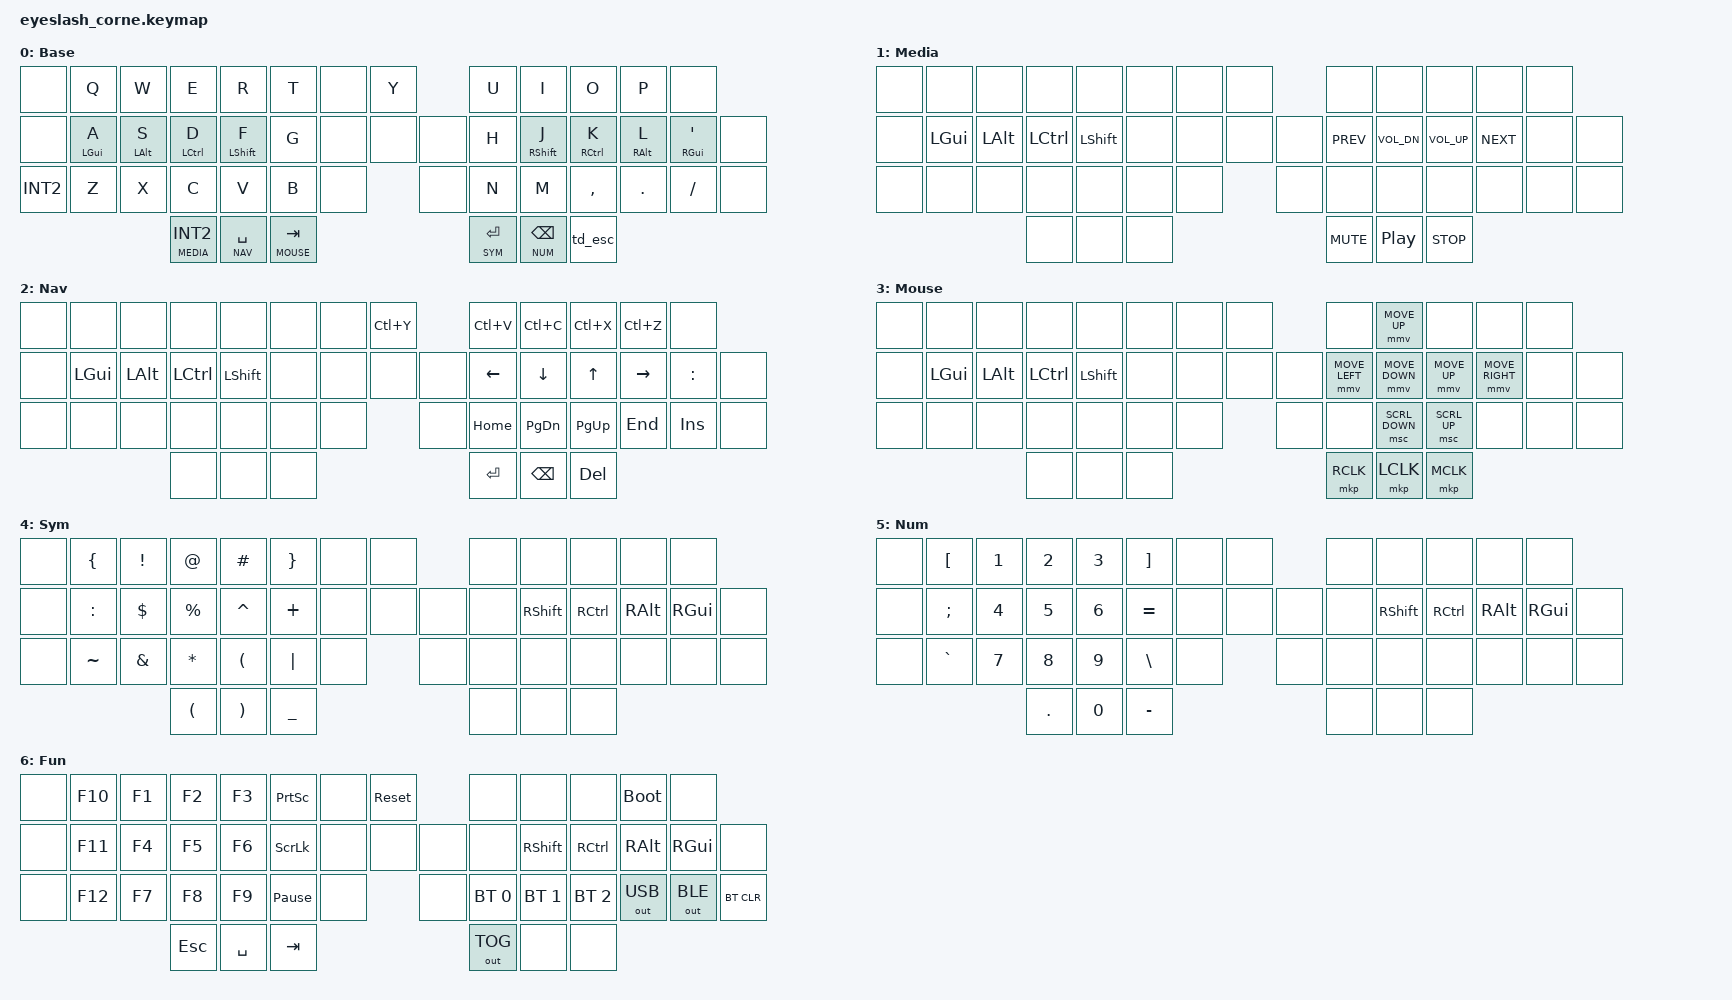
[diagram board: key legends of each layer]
/*
 * Eyelash Corne (3x6) - Miryoku-based keymap
 * Controller: nice!nano v2
 *
 * Matrix layout (48 keys total):
 * Row 0 (13): &none Q W E R T [5way_up] Y U I O P &none
 * Row 1 (15): &none A S D F G [5way_L] [5way_press] [5way_R] H J K L ; &none
 * Row 2 (14): &none Z X C V B [extra_L] [5way_dn] N M , . / &none
 * Row 3  (6): [thumb_L1] [thumb_L2] [thumb_L3] [thumb_R1] [thumb_R2] [thumb_R3]
 *
 * Key positions (0-indexed):
 * Row 0:  0  1  2  3  4  5  6  7  8  9 10 11 12
 * Row 1: 13 14 15 16 17 18 19 20 21 22 23 24 25 26 27
 * Row 2: 28 29 30 31 32 33 34 35 36 37 38 39 40 41
 * Row 3: 42 43 44 45 46 47
 */

#include <behaviors.dtsi>
#include <dt-bindings/zmk/keys.h>
#include <dt-bindings/zmk/bt.h>
#include <dt-bindings/zmk/outputs.h>
#include <dt-bindings/zmk/pointing.h>

// Layer definitions (order matches thumb-key left-to-right layout for Operator display)
#define BASE  0
#define MEDIA 1
#define NAV   2
#define MOUSE 3
#define SYM   4
#define NUM   5
#define FUN   6

// lt にキーリピートを有効化（tap→holdで発動）
&lt {
    quick-tap-ms = <175>;
};

/ {

    behaviors {

        // Left Home Row Mod
        hml: hml {
            compatible = "zmk,behavior-hold-tap";
            #binding-cells = <2>;
            flavor = "balanced";
            tapping-term-ms = <200>;
            quick-tap-ms = <175>;
            require-prior-idle-ms = <150>;
            bindings = <&kp>, <&kp>;
            hold-trigger-key-positions = <
                // Row 0 right hand
                6  7  8  9  10 11 12
                // Row 1 right hand (including 5way positions)
                19 20 21 22 23 24 25 26 27
                // Row 2 right hand
                35 36 37 38 39 40 41
                // Right thumbs
                45 46 47
            >;
            hold-trigger-on-release;
        };

        // Nested hold-tap used by td_esc below: hold = caps_word, single tap = no-op
        // (#binding-cells must be <2> per ZMK's hold-tap schema; caps_word/none ignore the unused params)
        hold_caps: hold_caps {
            compatible = "zmk,behavior-hold-tap";
            #binding-cells = <2>;
            flavor = "hold-preferred";
            tapping-term-ms = <200>;
            bindings = <&caps_word>, <&none>;
        };

        // ESC tap-dance: double-tap = ESC, hold = caps_word (via hold_caps), single tap = no-op
        td_esc: td_esc {
            compatible = "zmk,behavior-tap-dance";
            #binding-cells = <0>;
            tapping-term-ms = <200>;
            bindings = <&hold_caps 0 0>, <&kp ESC>;
        };

        // Right Home Row Mod
        hmr: hmr {
            compatible = "zmk,behavior-hold-tap";
            #binding-cells = <2>;
            flavor = "balanced";
            tapping-term-ms = <200>;
            quick-tap-ms = <175>;
            require-prior-idle-ms = <150>;
            bindings = <&kp>, <&kp>;
            hold-trigger-key-positions = <
                // Row 0 left hand
                0  1  2  3  4  5
                // Row 1 left hand
                13 14 15 16 17 18
                // Row 2 left hand
                28 29 30 31 32 33
                // Left thumbs
                42 43 44
            >;
            hold-trigger-on-release;
        };

    };

    combos {
        compatible = "zmk,combos";

        // G(pos 18) + H(pos 22) → Fun layer
        combo_fun {
            timeout-ms = <100>;
            key-positions = <18 22>;
            bindings = <&mo FUN>;
        };

        // Q(pos 1) + P(pos 11) → Region screenshot (PrintScreen)
        combo_screenshot {
            timeout-ms = <50>;
            key-positions = <1 11>;
            bindings = <&kp PSCRN>;
        };

        // J(pos 23) + K(pos 24) → Escape (Vim home row escape)
        combo_vim_esc {
            timeout-ms = <50>;
            key-positions = <23 24>;
            bindings = <&kp ESC>;
        };
    };

    keymap {
        compatible = "zmk,keymap";

        // ─────────────────────────────────────────────────────────────
        // BASE (48 keys)
        // ┌──────┬──────┬──────┬──────┬──────┬──────┬──────╥──────┬──────┬──────┬──────┬──────┬──────┐
        // │      │  Q   │  W   │  E   │  R   │  T   │      ║  Y   │  U   │  I   │  O   │  P   │      │
        // ├──────┼──────┼──────┼──────┼──────┼──────┼──────┼──────┼──────╫──────┼──────┼──────┼──────┼──────┼──────┤
        // │      │GUI/A │ALT/S │CTL/D │SFT/F │  G   │      │      │      ║  H   │SFT/J │CTL/K │ALT/L │GUI/' │      │
        // ├──────┼──────┼──────┼──────┼──────┼──────┼──────┼──────╫──────┼──────┼──────┼──────┼──────┼──────┤
        // │      │  Z   │  X   │  C   │  V   │  B   │      │      ║  N   │  M   │  ,   │  .   │  /   │      │
        // └──────┴──────┴──────┼──────┼──────┼──────┼──────┴──────╨──────┴──────┼──────┼──────┼──────┴──────┘
        //                      │MED/I2│NAV/Sp│MOU/Tb║              SYM/En│NUM/Bs │ Esc  │
        //                      └──────┴──────┴──────╨──────────────┴──────┴───────┴──────┘
        base_layer {
            display-name = "Base";
            bindings = <
                &none  &kp Q          &kp W          &kp E           &kp R           &kp T    &none     &kp Y        &kp U           &kp I           &kp O          &kp P            &none
                &none  &hml LGUI A    &hml LALT S    &hml LCTRL D    &hml LSHFT F    &kp G    &none  &none  &none  &kp H        &hmr RSHFT J    &hmr RCTRL K    &hmr RALT L    &hmr RGUI SQT   &none
                &kp INT2  &kp Z          &kp X          &kp C           &kp V           &kp B    &none  &none     &kp N        &kp M           &kp COMMA       &kp DOT        &kp SLASH        &none
                                                     &lt MEDIA INT2  &lt NAV SPACE   &lt MOUSE TAB                       &lt SYM RET  &lt NUM BSPC    &td_esc
            >;
        };

        // MEDIA (48 keys)
        media_layer {
            display-name = "Media";
            bindings = <
                &none  &none      &none      &none       &none       &none    &none     &none        &none          &none          &none        &none  &none
                &none  &kp LGUI   &kp LALT   &kp LCTRL   &kp LSHFT   &none    &none  &none  &none  &kp C_PREV   &kp C_VOL_DN   &kp C_VOL_UP   &kp C_NEXT   &none  &none
                &none  &none      &none      &none       &none       &none    &none  &none     &none        &none          &none          &none        &none  &none
                                             &none       &none       &none                       &kp C_MUTE   &kp C_PP       &kp C_STOP
            >;
        };

        // NAV (48 keys)
        nav_layer {
            display-name = "Nav";
            bindings = <
                &none  &none      &none      &none       &none       &none    &none     &kp LC(Y)  &kp LC(V)   &kp LC(C)   &kp LC(X)  &kp LC(Z)  &none
                &none  &kp LGUI   &kp LALT   &kp LCTRL   &kp LSHFT   &none    &none  &none  &none  &kp LEFT   &kp DOWN    &kp UP      &kp RIGHT  &kp COLON  &none
                &none  &none      &none      &none       &none       &none    &none  &none     &kp HOME   &kp PG_DN   &kp PG_UP   &kp END    &kp INS    &none
                                             &none       &none       &none                       &kp RET    &kp BSPC    &kp DEL
            >;
        };

        // MOUSE (48 keys)
        mouse_layer {
            display-name = "Mouse";
            bindings = <
                &none  &none      &none      &none       &none       &none    &none     &none           &none              &mmv MOVE_UP    &none               &none  &none
                &none  &kp LGUI   &kp LALT   &kp LCTRL   &kp LSHFT   &none    &none  &none  &none  &mmv MOVE_LEFT  &mmv MOVE_DOWN     &mmv MOVE_UP    &mmv MOVE_RIGHT     &none  &none
                &none  &none      &none      &none       &none       &none    &none  &none     &none           &msc SCRL_DOWN     &msc SCRL_UP    &none               &none  &none
                                             &none       &none       &none                       &mkp RCLK       &mkp LCLK          &mkp MCLK
            >;
        };

        // SYM (48 keys)
        sym_layer {
            display-name = "Sym";
            bindings = <
                &none  &kp LBRC   &kp EXCL  &kp AT     &kp HASH   &kp RBRC     &none     &none  &none       &none       &none      &none      &none
                &none  &kp COLON  &kp DLLR  &kp PRCNT  &kp CARET  &kp PLUS     &none  &none  &none  &none  &kp RSHFT   &kp RCTRL   &kp RALT   &kp RGUI   &none
                &none  &kp TILDE  &kp AMPS  &kp ASTRK  &kp LPAR   &kp PIPE     &none  &none     &none  &none       &none       &none      &none      &none
                                            &kp LPAR   &kp RPAR   &kp UNDER                       &none  &none       &none
            >;
        };

        // NUM (48 keys)
        num_layer {
            display-name = "Num";
            bindings = <
                &none  &kp LBKT   &kp N1  &kp N2   &kp N3  &kp RBKT     &none     &none  &none       &none       &none      &none      &none
                &none  &kp SEMI   &kp N4  &kp N5   &kp N6  &kp EQUAL    &none  &none  &none  &none  &kp RSHFT   &kp RCTRL   &kp RALT   &kp RGUI   &none
                &none  &kp GRAVE  &kp N7  &kp N8   &kp N9  &kp BSLH     &none  &none     &none  &none       &none       &none      &none      &none
                                          &kp DOT  &kp N0  &kp MINUS                       &none  &none       &none
            >;
        };

        // FUN (G+H combo, 48 keys)
        fun_layer {
            display-name = "Fun";
            bindings = <
                &none  &kp F10  &kp F1  &kp F2    &kp F3  &kp PSCRN          &none     &sys_reset  &none       &none       &none      &bootloader  &none
                &none  &kp F11  &kp F4  &kp F5    &kp F6  &kp SLCK           &none  &none  &none  &none  &kp RSHFT   &kp RCTRL   &kp RALT   &kp RGUI   &none
                &none  &kp F12  &kp F7  &kp F8    &kp F9  &kp PAUSE_BREAK    &none  &none     &bt BT_SEL 0  &bt BT_SEL 1       &bt BT_SEL 2       &out OUT_USB      &out OUT_BLE      &bt BT_CLR
                                        &kp ESC   &kp SPACE &kp TAB                           &out OUT_TOG  &none       &none
            >;
        };

    };
};
